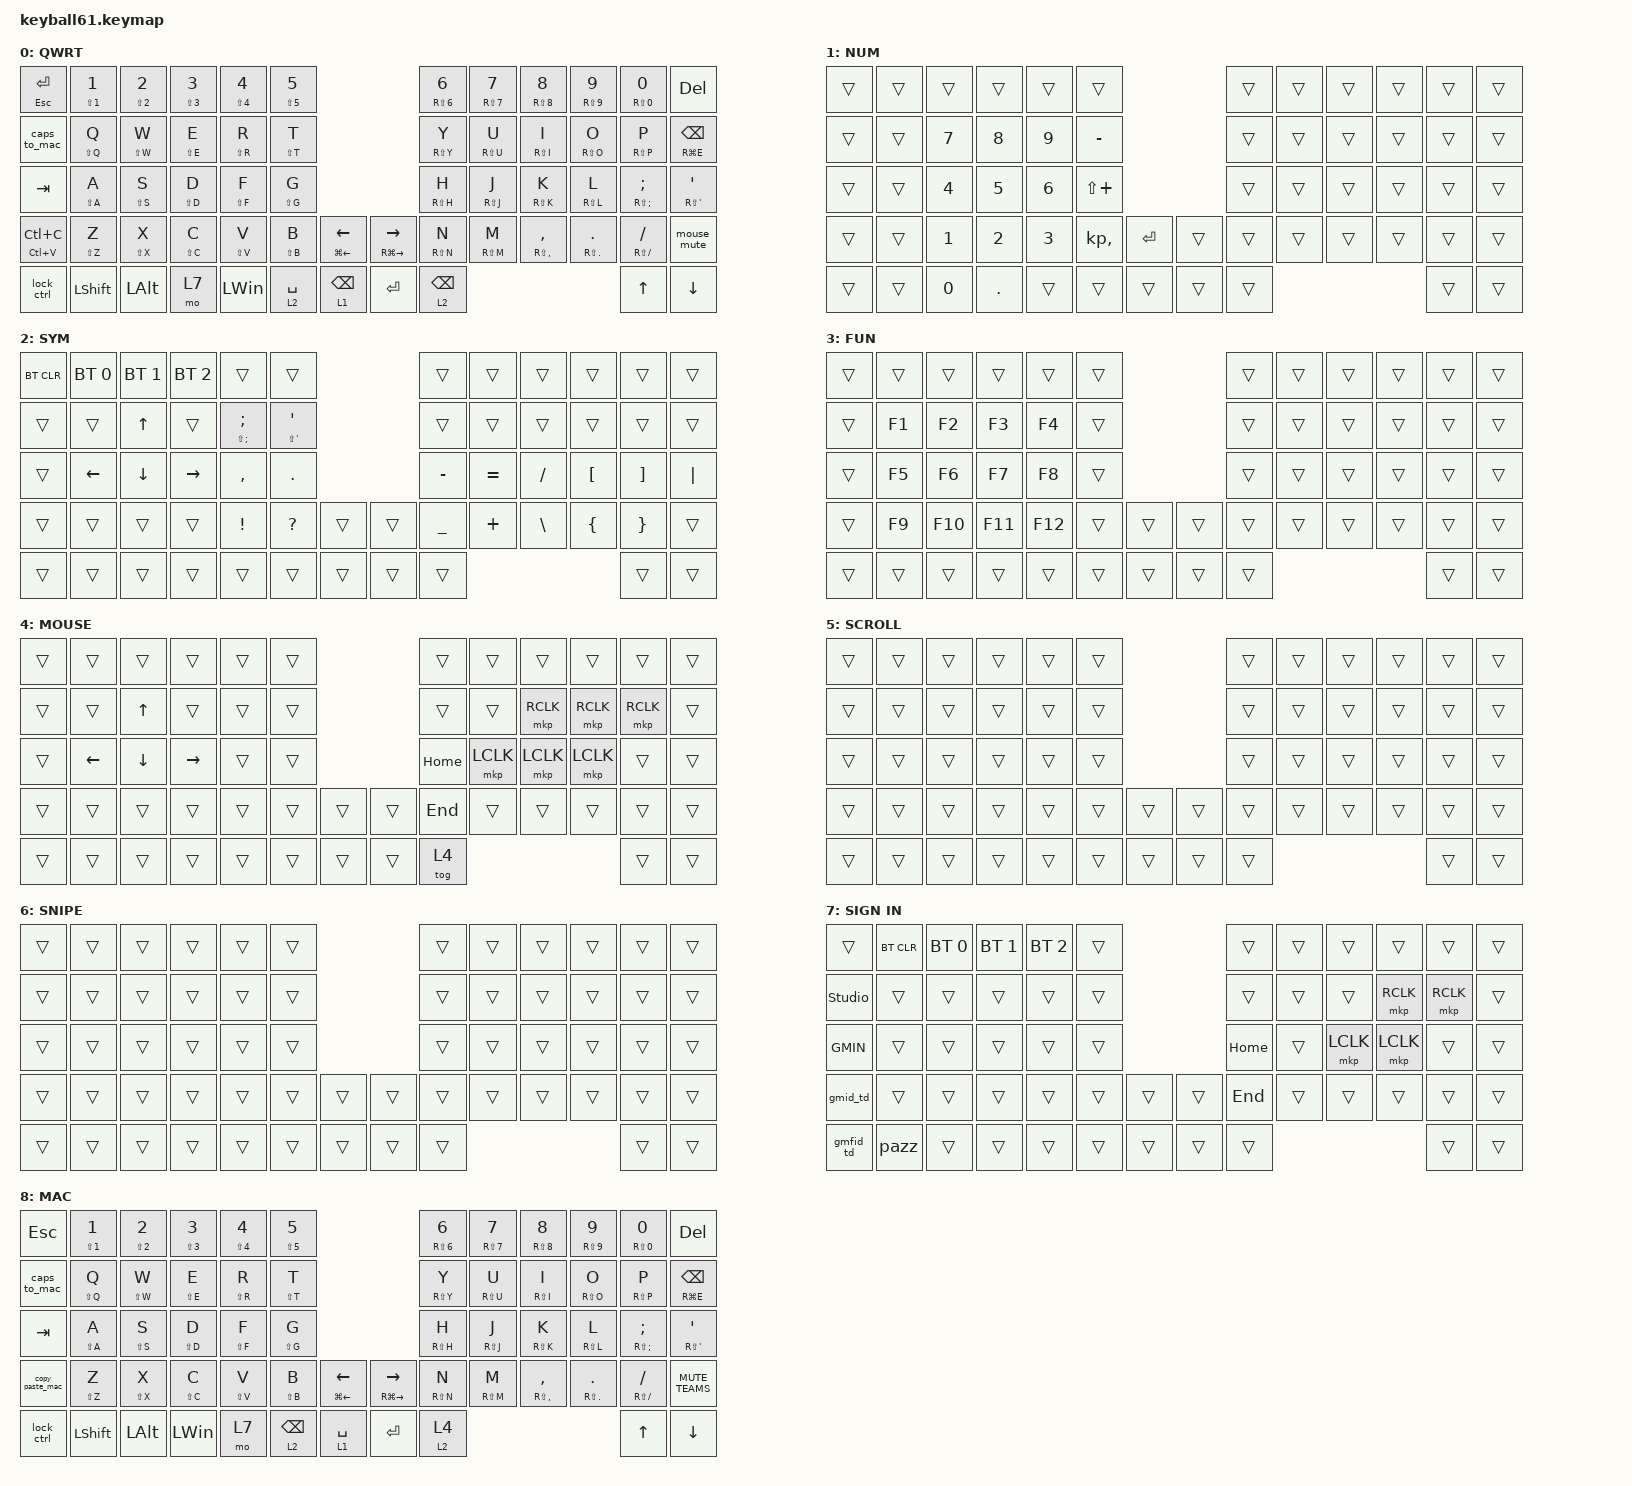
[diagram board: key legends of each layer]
#define DEFAULT 0
#define SYM     1
#define FUN     2
#define MOUSE   3
#define SCROLL  4
#define SNIPE   5
#define SIGN_IN 6
#define MAC     7

#include <behaviors/mouse_keys.dtsi>
#include <dt-bindings/zmk/mouse.h>
#include <behaviors.dtsi>
#include <dt-bindings/zmk/bt.h>
#include <dt-bindings/zmk/keys.h>

&lt {
    tapping-term-ms = <240>;
    flavor = "balanced";
    quick-tap-ms = <150>;
};

&mt {
    tapping-term-ms = <200>;
    flavor = "tap-preferred";
    quick-tap-ms = <150>;
};

/ {
    behaviors {
        as: auto_shift {
            compatible = "zmk,behavior-hold-tap";
            label = "AS";
            bindings = <&kp>, <&kp>;

            #binding-cells = <2>;
            tapping-term-ms = <200>;
            quick-tap-ms = <130>;
            flavor = "tap-preferred";
        };

        pazz: pazz {
            compatible = "zmk,behavior-tap-dance";
            label = "PAZZ";
            #binding-cells = <0>;
            bindings = <&PW1>, <&PW2>;
        };

        gmfid_td: gmfid_td {
            compatible = "zmk,behavior-tap-dance";
            label = "GMFID_TD";
            #binding-cells = <0>;
            bindings = <&GMFID1>, <&GMFID2>;
        };

        gmid_td: gmid_td {
            compatible = "zmk,behavior-tap-dance";
            label = "GMID_TD";
            #binding-cells = <0>;
            bindings = <&GMID1>, <&GMID2>;
        };

        lock_ctrl: lock_ctrl {
            compatible = "zmk,behavior-tap-dance";
            label = "LOCK_CTRL";
            #binding-cells = <0>;
            bindings = <&sk LCTRL>, <&kp LC(LA(DEL))>;
        };

        copy_paste: copy_paste {
            compatible = "zmk,behavior-tap-dance";
            label = "COPY_PASTE";
            #binding-cells = <0>;
            bindings = <&kp LC(C)>, <&kp LC(LS(V))>;
        };

        copy_paste_mac: copy_paste_mac {
            compatible = "zmk,behavior-tap-dance";
            label = "COPY_PASTE_MAC";
            #binding-cells = <0>;
            bindings = <&kp LG(C)>, <&kp LG(V)>;
        };

        caps_to_mac: caps_to_mac {
            compatible = "zmk,behavior-tap-dance";
            label = "CAPS_TO_MAC";
            #binding-cells = <0>;
            bindings = <&kp CAPS>, <&tog 8>;
        };

        mo_tog: mo_tog {
            compatible = "zmk,behavior-hold-tap";
            label = "MO_TOG";
            bindings = <&mo>, <&tog>;

            #binding-cells = <2>;
            tapping-term-ms = <125>;
        };

        mouse_mute: mouse_mute {
            compatible = "zmk,behavior-tap-dance";
            label = "MOUSE_MUTE";
            #binding-cells = <0>;
            bindings = <&tog 4>, <&MUTE_TEAMS>;
        };
    };

    combos {
        compatible = "zmk,combos";

        BKSPC {
            bindings = <&kp BACKSPACE>;
            key-positions = <27 28>;
        };

        BKSPC2 {
            bindings = <&kp BACKSPACE>;
            key-positions = <31 32>;
        };

        ENT {
            bindings = <&kp ENTER>;
            key-positions = <39 40>;
        };

        scroll_tog {
            bindings = <&mo 5>;
            key-positions = <22 33>;
        };

        RUN {
            bindings = <&kp RC(ENTER)>;
            key-positions = <21 31>;
        };

        scroll_tog_2 {
            bindings = <&mo 5>;
            key-positions = <21 32>;
        };

        screenshot {
            bindings = <&kp LG(LS(S))>;
            key-positions = <52 53>;
        };

        RUN2 {
            bindings = <&kp RC(ENTER)>;
            key-positions = <22 32>;
        };

        scroll_tog_3 {
            bindings = <&mo 5>;
            key-positions = <20 31>;
        };
    };

    macros {
        GMFID1: GMFID {
            compatible = "zmk,behavior-macro";
            #binding-cells = <0>;
            bindings = <&kp K &kp C &kp H &kp I &kp M &kp N1 &kp TAB>;
            label = "GMFID";
        };

        PW1: PW {
            compatible = "zmk,behavior-macro";
            #binding-cells = <0>;
            bindings = <&kp LS(T) &kp A &kp C &kp O &kp S &kp N1 &kp N8 &kp N9 &kp N4 &kp EXCL &kp HASH &kp LS(T) &kp A &kp C &kp O &kp S &kp N1>;
            label = "PW";
        };

        GMID1: GMID {
            compatible = "zmk,behavior-macro";
            #binding-cells = <0>;
            bindings = <&kp LS(X) &kp LS(Z) &kp LS(Y) &kp LS(L) &kp LS(X) &kp N9>;
            label = "GMID";
        };

        GMID2: GMID2 {
            compatible = "zmk,behavior-macro";
            #binding-cells = <0>;
            bindings = <&kp LS(X) &kp LS(Z) &kp LS(Y) &kp LS(L) &kp LS(X) &kp N9 &kp AT &kp LS(N) &kp LS(A) &kp LS(M) &kp DOT &kp C &kp O &kp R &kp P &kp DOT &kp G &kp M &kp DOT &kp C &kp O &kp M>;
            label = "GMID2";
        };

        GMFID2: GMFID2 {
            compatible = "zmk,behavior-macro";
            #binding-cells = <0>;
            bindings = <&kp K &kp C &kp H &kp I &kp M &kp N1 &kp TAB &kp AT &kp A &kp C &kp F &kp DOT &kp A &kp M &kp E &kp R &kp I &kp C &kp R &kp E &kp D &kp I &kp T &kp DOT &kp C &kp O &kp M>;
            label = "GMFID2";
        };

        PW2: PW2 {
            compatible = "zmk,behavior-macro";
            #binding-cells = <0>;
            bindings = <&kp H &kp A &kp H &kp A &kp N1 &kp N2 &kp N3>;
            label = "PW2";
        };

        GMIN: GMIN {
            compatible = "zmk,behavior-macro";
            #binding-cells = <0>;
            bindings = <&kp N2 &kp N1 &kp N8 &kp N4 &kp N0 &kp N2 &kp N9 &kp N1 &kp N1>;
            label = "GMIN";
        };

        MUTE_TEAMS: mute_teams {
            compatible = "zmk,behavior-macro";
            #binding-cells = <0>;
            bindings = <&kp RC(RS(M))>;
            label = "MUTE_TEAMS";
        };

        CELL_BELOW: CELL_BELOW {
            compatible = "zmk,behavior-macro";
            #binding-cells = <0>;
            bindings = <&kp ESC &kp B>;
            label = "CELL_BELOW";
        };

        CELL_ABOVE: CELL_ABOVE {
            compatible = "zmk,behavior-macro";
            #binding-cells = <0>;
            bindings = <&kp ESC &kp A>;
            label = "CELL_ABOVE";
        };

        PALETTE: PALETTE {
            compatible = "zmk,behavior-macro";
            #binding-cells = <0>;
            bindings = <&kp F1>;
            label = "PALETTE";
        };

        SETTINGS: SETTINGS {
            compatible = "zmk,behavior-macro";
            #binding-cells = <0>;
            bindings = <&kp RC(COMMA)>;
            label = "SETTINGS";
        };

        COPILOT: COPILOT {
            compatible = "zmk,behavior-macro";
            #binding-cells = <0>;
            bindings = <&kp RC(RA(I))>;
            label = "COPILOT";
        };

        TEMP_MUTE: TEMP_MUTE {
            compatible = "zmk,behavior-macro";
            #binding-cells = <0>;
            bindings = <&kp LC(SPACE)>;
            label = "TEMP_MUTE";
        };

        HANG_UP: HANG_UP {
            compatible = "zmk,behavior-macro";
            #binding-cells = <0>;
            bindings = <&kp LC(LS(H))>;
            label = "HANG_UP";
        };

        UNLOCK: UNLOCK {
            compatible = "zmk,behavior-macro";
            #binding-cells = <0>;
            bindings = <&kp LC(LA(DEL))>;
            label = "UNLOCK";
        };
    };

    keymap {
        compatible = "zmk,keymap";

        default_layer {
            label = "QWRT";
            bindings = <
&as ESC ENTER        &as LS(N1) N1  &as LS(N2) N2  &as LS(N3) N3  &as LS(N4) N4  &as LS(N5) N5                                                        &as RS(N6) N6    &as RS(N7) N7  &as RS(N8) N8        &as RS(N9) N9    &as RS(N0) N0      &kp DEL
&caps_to_mac         &as LS(Q) Q    &as LS(W) W    &as LS(E) E    &as LS(R) R    &as LS(T) T                                                          &as RS(Y) Y      &as RS(U) U    &as RS(I) I          &as RS(O) O      &as RS(P) P        &as RG(E) BACKSPACE
&kp TAB              &as LS(A) A    &as LS(S) S    &as LS(D) D    &as LS(F) F    &as LS(G) G                                                          &as RS(H) H      &as RS(J) J    &as RS(K) K          &as RS(L) L      &as RS(SEMI) SEMI  &as RS(SQT) SQT
&as LC(V) LC(C)  &as LS(Z) Z    &as LS(X) X    &as LS(C) C    &as LS(V) V    &as LS(B) B      &as LG(LEFT) LEFT_ARROW  &as RG(RIGHT) RIGHT_ARROW  &as RS(N) N      &as RS(M) M    &as RS(COMMA) COMMA  &as RS(DOT) DOT  &as RS(FSLH) FSLH  &mouse_mute
&lock_ctrl           &kp LSHFT      &kp LEFT_ALT   &mo 7          &kp LEFT_WIN   &lt 2 SPACE  &lt 1 BACKSPACE              &kp ENTER                  &lt 2 BACKSPACE                                                       &kp UP_ARROW       &kp DOWN_ARROW
            >;
        };

        number_layer {
            bindings = <
&trans  &trans  &trans  &trans   &trans  &trans                           &trans  &trans  &trans  &trans  &trans  &trans
&trans  &trans  &kp N7  &kp N8   &kp N9  &kp MINUS                        &trans  &trans  &trans  &trans  &trans  &trans
&trans  &trans  &kp N4  &kp N5   &kp N6  &kp LS(PLUS)                     &trans  &trans  &trans  &trans  &trans  &trans
&trans  &trans  &kp N1  &kp N2   &kp N3  &kp KP_COMMA  &kp ENTER  &trans  &trans  &trans  &trans  &trans  &trans  &trans
&trans  &trans  &kp N0  &kp DOT  &trans  &trans        &trans     &trans  &trans                          &trans  &trans
            >;

            label = "NUM";
        };

        symbol_layer {
            label = "SYM";
            bindings = <
&bt BT_CLR  &bt BT_SEL 0    &bt BT_SEL 1    &bt BT_SEL 2     &trans             &trans                                             &trans          &trans     &trans    &trans            &trans             &trans
&trans      &trans          &kp UP_ARROW    &trans           &as LS(SEMI) SEMI  &as LS(SINGLE_QUOTE) SINGLE_QUOTE                  &trans          &trans     &trans    &trans            &trans             &trans
&trans      &kp LEFT_ARROW  &kp DOWN_ARROW  &kp RIGHT_ARROW  &kp COMMA          &kp PERIOD                                         &kp MINUS       &kp EQUAL  &kp FSLH  &kp LEFT_BRACKET  &kp RIGHT_BRACKET  &kp PIPE
&trans      &trans          &trans          &trans           &kp EXCLAMATION    &kp QUESTION                       &trans  &trans  &kp UNDERSCORE  &kp PLUS   &kp BSLH  &kp LEFT_BRACE    &kp RIGHT_BRACE    &trans
&trans      &trans          &trans          &trans           &trans             &trans                             &trans  &trans  &trans                                                 &trans             &trans
            >;
        };

        function_layer {
            label = "FUN";
            bindings = <
&trans  &trans  &trans   &trans   &trans   &trans                  &trans  &trans  &trans  &trans  &trans  &trans
&trans  &kp F1  &kp F2   &kp F3   &kp F4   &trans                  &trans  &trans  &trans  &trans  &trans  &trans
&trans  &kp F5  &kp F6   &kp F7   &kp F8   &trans                  &trans  &trans  &trans  &trans  &trans  &trans
&trans  &kp F9  &kp F10  &kp F11  &kp F12  &trans  &trans  &trans  &trans  &trans  &trans  &trans  &trans  &trans
&trans  &trans  &trans   &trans   &trans   &trans  &trans  &trans  &trans                          &trans  &trans
            >;
        };

        mouse_layer {
            label = "MOUSE";
            bindings = <
&trans  &trans          &trans          &trans           &trans  &trans                  &trans    &trans     &trans     &trans     &trans     &trans
&trans  &trans          &kp UP_ARROW    &trans           &trans  &trans                  &trans    &trans     &mkp RCLK  &mkp RCLK  &mkp RCLK  &trans
&trans  &kp LEFT_ARROW  &kp DOWN_ARROW  &kp RIGHT_ARROW  &trans  &trans                  &kp HOME  &mkp LCLK  &mkp LCLK  &mkp LCLK  &trans     &trans
&trans  &trans          &trans          &trans           &trans  &trans  &trans  &trans  &kp END   &trans     &trans     &trans     &trans     &trans
&trans  &trans          &trans          &trans           &trans  &trans  &trans  &trans  &tog 4                                     &trans     &trans
            >;
        };

        scroll_layer {
            label = "SCROLL";
            bindings = <
&trans  &trans  &trans  &trans  &trans  &trans                  &trans  &trans  &trans  &trans  &trans  &trans
&trans  &trans  &trans  &trans  &trans  &trans                  &trans  &trans  &trans  &trans  &trans  &trans
&trans  &trans  &trans  &trans  &trans  &trans                  &trans  &trans  &trans  &trans  &trans  &trans
&trans  &trans  &trans  &trans  &trans  &trans  &trans  &trans  &trans  &trans  &trans  &trans  &trans  &trans
&trans  &trans  &trans  &trans  &trans  &trans  &trans  &trans  &trans                          &trans  &trans
            >;
        };

        snipe_layer {
            label = "SNIPE";
            bindings = <
&trans  &trans  &trans  &trans  &trans  &trans                  &trans  &trans  &trans  &trans  &trans  &trans
&trans  &trans  &trans  &trans  &trans  &trans                  &trans  &trans  &trans  &trans  &trans  &trans
&trans  &trans  &trans  &trans  &trans  &trans                  &trans  &trans  &trans  &trans  &trans  &trans
&trans  &trans  &trans  &trans  &trans  &trans  &trans  &trans  &trans  &trans  &trans  &trans  &trans  &trans
&trans  &trans  &trans  &trans  &trans  &trans  &trans  &trans  &trans                          &trans  &trans
            >;
        };

        sign_in_layer {
            label = "SIGN IN";
            bindings = <
&trans          &bt BT_CLR  &bt BT_SEL 0  &bt BT_SEL 1  &bt BT_SEL 2  &trans                  &trans    &trans  &trans     &trans     &trans     &trans
&studio_unlock  &trans      &trans        &trans        &trans        &trans                  &trans    &trans  &trans     &mkp RCLK  &mkp RCLK  &trans
&GMIN           &trans      &trans        &trans        &trans        &trans                  &kp HOME  &trans  &mkp LCLK  &mkp LCLK  &trans     &trans
&gmid_td        &trans      &trans        &trans        &trans        &trans  &trans  &trans  &kp END   &trans  &trans     &trans     &trans     &trans
&gmfid_td       &pazz       &trans        &trans        &trans        &trans  &trans  &trans  &trans                                  &trans     &trans
            >;
        };

        mac_layer {
            label = "MAC";
            bindings = <
&kp ESC          &as LS(N1) N1  &as LS(N2) N2  &as LS(N3) N3  &as LS(N4) N4  &as LS(N5) N5                                                        &as RS(N6) N6  &as RS(N7) N7  &as RS(N8) N8        &as RS(N9) N9    &as RS(N0) N0      &kp DEL
&caps_to_mac     &as LS(Q) Q    &as LS(W) W    &as LS(E) E    &as LS(R) R    &as LS(T) T                                                          &as RS(Y) Y    &as RS(U) U    &as RS(I) I          &as RS(O) O      &as RS(P) P        &as RG(E) BACKSPACE
&kp TAB          &as LS(A) A    &as LS(S) S    &as LS(D) D    &as LS(F) F    &as LS(G) G                                                          &as RS(H) H    &as RS(J) J    &as RS(K) K          &as RS(L) L      &as RS(SEMI) SEMI  &as RS(SQT) SQT
&copy_paste_mac  &as LS(Z) Z    &as LS(X) X    &as LS(C) C    &as LS(V) V    &as LS(B) B      &as LG(LEFT) LEFT_ARROW  &as RG(RIGHT) RIGHT_ARROW  &as RS(N) N    &as RS(M) M    &as RS(COMMA) COMMA  &as RS(DOT) DOT  &as RS(FSLH) FSLH  &MUTE_TEAMS
&lock_ctrl       &kp LSHFT      &kp LEFT_ALT   &kp LEFT_WIN   &mo 7          &lt 2 BACKSPACE  &lt 1 SPACE              &kp ENTER                  &mo_tog 2 4                                                         &kp UP_ARROW       &kp DOWN_ARROW
            >;
        };
    };
};
